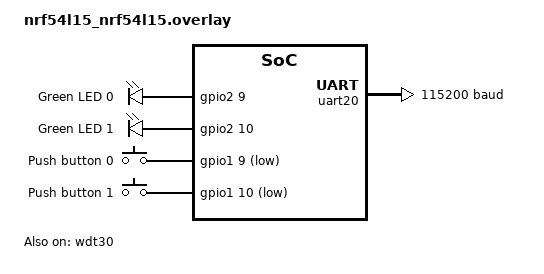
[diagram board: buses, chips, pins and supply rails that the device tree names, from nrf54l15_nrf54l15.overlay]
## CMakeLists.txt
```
# Copyright (c) 2024, Nestle Purina Pet Care. All rights reserved
# SPDX-License-Identifier: LicenseRef-Proprietary

cmake_minimum_required(VERSION 3.20.0)

set(DTC_OVERLAY_FILE ./nrf5340dk_nrf5340_cpuapp.overlay)

add_compile_options(-Werror)

get_filename_component(APPLICATION_PROJECT_DIR
    ${CMAKE_CURRENT_LIST_DIR}/..
    ABSOLUTE
)

list(APPEND CONF_FILE prj.conf)

if (EXISTS prj.local.conf)
  list(APPEND CONF_FILE prj.local.conf)
endif()
if (CONFIG_RELEASE_BUILD)
  message("Doing a RELEASE build")
  list(APPEND CONF_FILE prj.release.conf)
endif()
message("CONF_FILE=${CONF_FILE}")
# list(APPEND BOARD_ROOT ${APPLICATION_PROJECT_DIR})
# list(APPEND DTS_ROOT ${APPLICATION_PROJECT_DIR})
# message("ADDING BOARD_ROOT=${BOARD_ROOT}")
# message("ADDING DTS_ROOT=${DTS_ROOT}")

list(APPEND EXTRA_ZEPHYR_MODULES ${CMAKE_CURRENT_LIST_DIR}/../lib/drivers)
message("MODULES=${EXTRA_ZEPHYR_MODULES}")

find_package(Zephyr REQUIRED HINTS $ENV{ZEPHYR_BASE})


project(commercial_collar VERSION 1.21.0)

zephyr_library_include_directories(src/include)
target_sources(app PRIVATE src/main.c src/pm_shell.c src/shell.c src/nrf53_upgrade.c src/self_check.c src/d1_time.c)
target_sources_ifdef(CONFIG_RELEASE_BUILD app PRIVATE src/login.c)
add_subdirectory(../c_modules/fqueue ./build/c_modules/fqueue)
add_subdirectory(../c_modules/pmic ./build/c_modules/pmic)
add_subdirectory(../c_modules/modem ./build/c_modules/modem)
add_subdirectory(src/wifi)
add_subdirectory(../c_modules/watchdog ./build/c_modules/watchdog)
add_subdirectory(src/ble)
add_subdirectory(../c_modules/imu ./build/c_modules/imu)
add_subdirectory(../c_modules/json ./build/c_modules/json)
add_subdirectory(../c_modules/tde ./build/c_modules/tde)
add_subdirectory(../c_modules/uicr ./build/c_modules/uicr)
add_subdirectory(../c_modules/utils ./build/c_modules/utils)
add_subdirectory(src/storage)
add_subdirectory(src/ml)
add_subdirectory(src/comm_mgr)
add_subdirectory(src/zbus)


add_definitions(-DAPP_VERSION_MAJOR_CMAKE=${PROJECT_VERSION_MAJOR})
add_definitions(-DAPP_VERSION_MINOR_CMAKE=${PROJECT_VERSION_MINOR})
add_definitions(-DAPP_VERSION_PATCH_CMAKE=${PROJECT_VERSION_PATCH})

# Get the current Git commit hash
execute_process(
  COMMAND git rev-parse --short=6 HEAD
  WORKING_DIRECTORY ${CMAKE_SOURCE_DIR}
  OUTPUT_VARIABLE GIT_HASH
  OUTPUT_STRIP_TRAILING_WHITESPACE
)

# Check if the repository is dirty
execute_process(
  COMMAND git status --porcelain -uno
  WORKING_DIRECTORY ${CMAKE_SOURCE_DIR}
  OUTPUT_VARIABLE GIT_DIRTY_STATUS
  OUTPUT_STRIP_TRAILING_WHITESPACE
)

# Append '-dirty' to the version string if the repository is dirty
if(NOT GIT_DIRTY_STATUS STREQUAL "")
  set(GIT_HASH "${GIT_HASH}-dirty")
endif()

add_definitions(-DGIT_HASH_CMAKE=\"${GIT_HASH}\")

# Get the build machine name
execute_process(
  COMMAND hostname
  OUTPUT_VARIABLE BUILD_MACHINE
  OUTPUT_STRIP_TRAILING_WHITESPACE
)

# Get the build date
string(TIMESTAMP BUILD_DATE "%Y-%m-%d %H:%M:%S")

# Pass the variables to the code
add_definitions(-DBUILD_MACHINE_CMAKE=\"${BUILD_MACHINE}\")
add_definitions(-DBUILD_DATE_CMAKE=\"${BUILD_DATE}\")
```

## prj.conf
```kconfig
CONFIG_SENSOR=y
CONFIG_GPIO=y
CONFIG_LOG=y
CONFIG_LOG_MODE_IMMEDIATE=y

CONFIG_ZCBOR=y
CONFIG_ZCBOR_CANONICAL=y

CONFIG_ZBUS=y
CONFIG_ZBUS_RUNTIME_OBSERVERS=y

CONFIG_SERIAL=y
CONFIG_UART_INTERRUPT_DRIVEN=y
CONFIG_UART_ASYNC_API=y
CONFIG_UART_NRFX=y
CONFIG_PRINTK=y
CONFIG_MAIN_STACK_SIZE=32768
CONFIG_SHELL_STACK_SIZE=8192
CONFIG_SYSTEM_WORKQUEUE_STACK_SIZE=8192
CONFIG_POSIX_CLOCK=y

CONFIG_SETTINGS=y
CONFIG_SETTINGS_SHELL=y
CONFIG_SETTINGS_LOG_LEVEL_DBG=y
CONFIG_SETTINGS_RUNTIME=y
CONFIG_SETTINGS_FILE_PATH="/lfs1/settings/run"

CONFIG_PM_DEVICE=y
CONFIG_PM_DEVICE_RUNTIME=y

## SHELL
CONFIG_SHELL=y
CONFIG_LED_SHELL=y
CONFIG_FLASH_SHELL=y
CONFIG_GPIO_SHELL=y
CONFIG_SHELL_WILDCARD=n
CONFIG_SHELL_STACK_SIZE=8192
#CONFIG_LOG_BUFFER_SIZE=8192
#CONFIG_LOG_PROCESS_THREAD_STACK_SIZE=4096
#CONFIG_LOG_PROCESS_THREAD=y
CONFIG_SHELL_CMDS_RESIZE=y
CONFIG_SHELL_CMD_BUFF_SIZE=2048
CONFIG_SHELL_BACKEND_SERIAL_RX_RING_BUFFER_SIZE=2048

## NPM1300
CONFIG_FLASH_SHELL=y
CONFIG_GPIO_SHELL=y


## NPM1300
CONFIG_LED=y
CONFIG_REGULATOR=y
CONFIG_REGULATOR_NPM1300=y
CONFIG_REGULATOR=y
CONFIG_REGULATOR_NPM1300=y
CONFIG_LED_NPM1300=y
CONFIG_GPIO_NPM1300=y
CONFIG_NPM1300_CHARGER=y
CONFIG_NRF_FUEL_GAUGE=y
CONFIG_MFD_NPM1300=y

# Flash
CONFIG_FLASH=y
CONFIG_FLASH_PAGE_LAYOUT=y
CONFIG_FLASH_SHELL_TEST_COMMANDS=y
CONFIG_FLASH_MAP=y
CONFIG_FLASH_MAP_SHELL=y
CONFIG_FLASH_MAP_LABELS=y
CONFIG_NORDIC_QSPI_NOR=y
CONFIG_MPU_ALLOW_FLASH_WRITE=y

# Filesystem
CONFIG_FILE_SYSTEM=y
CONFIG_FILE_SYSTEM_LITTLEFS=y
CONFIG_FILE_SYSTEM_SHELL=y
CONFIG_FILE_SYSTEM_SHELL_TEST_COMMANDS=y
# use 3MB of external flash for file system (other 1MB is for DFU slot)
CONFIG_PM_PARTITION_SIZE_LITTLEFS=0x300000
CONFIG_PM_PARTITION_REGION_LITTLEFS_EXTERNAL=y

# CONFIG_SPI=n

CONFIG_NRFX_SPIM4=y

## watchdog
CONFIG_WDT_LOG_LEVEL_DBG=y
CONFIG_WATCHDOG=y
CONFIG_WDT_NPM1300=y
#CONFIG_WDT_NPM1300_TIMEOUT_IN_MS=60000
CONFIG_COUNTER=y

#CONFIG_USE_UART_TO_NRF9160=y

# IMU
CONFIG_LSM6DSV16X_D1=y
CONFIG_LSM6DSV16X_D1_TRIGGER_OWN_THREAD=y
CONFIG_LSM6DSV16X_D1_THREAD_STACK_SIZE=4096
CONFIG_LSM6DSV16X_D1_ENABLE_MOTION=y

CONFIG_CJSON_LIB=y

## Bringup and Mfg test
## might require hardware mods, do not use unless you know what you are doing
#CONFIG_ENABLE_RFFE_TO_QM13335TR13=y

CONFIG_WIFI_SPI_LOG_LEVEL_ERR=y

# BLE
CONFIG_BT=y
CONFIG_BT_SMP=y # required for .security_changed callback
CONFIG_BT_SIGNING=y
CONFIG_BT_PERIPHERAL=y
CONFIG_BT_BAS=y
CONFIG_BT_DEVICE_NAME_DYNAMIC=y
CONFIG_BT_RX_STACK_SIZE=4096
CONFIG_BT_BUF_ACL_RX_SIZE=251
CONFIG_BT_ATT_PREPARE_COUNT=2
CONFIG_BT_CONN_TX_MAX=10
CONFIG_BT_L2CAP_TX_BUF_COUNT=10
CONFIG_BT_L2CAP_TX_MTU=247
CONFIG_BT_BUF_ACL_RX_SIZE=251
CONFIG_BT_L2CAP_DYNAMIC_CHANNEL=y
CONFIG_BT_KEYS_OVERWRITE_OLDEST=y
CONFIG_BT_SETTINGS=y
CONFIG_BT_SHELL=y
CONFIG_BT_MAX_PAIRED=10
# 4s supervisory timeout, max recommended if iOS
CONFIG_BT_PERIPHERAL_PREF_TIMEOUT=400

# tweak some BT configs
CONFIG_BT_ATT_ENFORCE_FLOW=n
CONFIG_BT_ATT_PREPARE_COUNT=10
CONFIG_BT_GATT_AUTO_SEC_REQ=n
CONFIG_BT_GATT_CACHING=n
CONFIG_BT_GATT_ENFORCE_SUBSCRIPTION=n

# MCUBoot
CONFIG_BOOTLOADER_MCUBOOT=y
CONFIG_MCUBOOT_GENERATE_UNSIGNED_IMAGE=y
CONFIG_MCUBOOT_GENERATE_CONFIRMED_IMAGE=y

# NOTE: we put DFU secondary slot in QSPI flash to save code space for app
CONFIG_PM_EXTERNAL_FLASH_MCUBOOT_SECONDARY=y
CONFIG_ADD_MCUBOOT_MEDIATE_SIM_FLASH_DTS=n

# DFU - this enables all required SMP handlers and SMP BT reassembly feature
CONFIG_NCS_SAMPLE_MCUMGR_BT_OTA_DFU=y
# LFS access - this allows us to download files from the device manager app
CONFIG_MCUMGR_GRP_FS=y
CONFIG_MCUMGR_GRP_FS_MAX_FILE_SIZE_4GB=y

# Network core upgrades
CONFIG_NRF53_UPGRADE_NETWORK_CORE=y
CONFIG_DFU_MULTI_IMAGE_PACKAGE_BUILD=y
CONFIG_DFU_MULTI_IMAGE_PACKAGE_NET=y

# enable c++ support for ML library
CONFIG_CPLUSPLUS=y
CONFIG_LIB_CPLUSPLUS=y

#FIXME: enabling this breaks '#include <cJSON.h>', need to figure this out
#CONFIG_NEWLIB_LIBC=y
CONFIG_FPU=y

# used to generate Nonce
CONFIG_ENTROPY_GENERATOR=y
CONFIG_ENTROPY_DEVICE_RANDOM_GENERATOR=y

CONFIG_BT_HCI_CORE_LOG_LEVEL_ERR=y
CONFIG_FS_LOG_LEVEL_OFF=y


CONFIG_BASE64=y
CONFIG_ENTROPY_DEVICE_RANDOM_GENERATOR=y
CONFIG_LOG_TIMESTAMP_64BIT=y
CONFIG_MCUMGR_TRANSPORT_WORKQUEUE_STACK_SIZE=5120

# this seems like a ridiculously large value, got me past the CJson issue, need to reduce to something reasonable
CONFIG_HEAP_MEM_POOL_SIZE=49152

CONFIG_MQTT_KEEPALIVE=600

CONFIG_ENABLE_FOTA_ON_USB_CONNECTION=1

###############       DEBUG STUFF - TURN OFF FOR PRODUCTION/DEMO       #####################
# Changes to the CONFIG values that are local and not checked in can now be stored in prj.local.conf
# This file will not be checked in but will be merged into the main prj.conf at make ime
```

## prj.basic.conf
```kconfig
# Basic configuration for testing compilation
CONFIG_SENSOR=y
CONFIG_GPIO=y
CONFIG_LOG=y
CONFIG_LOG_MODE_IMMEDIATE=y

CONFIG_ZCBOR=y
CONFIG_ZCBOR_CANONICAL=y

CONFIG_ZBUS=y
CONFIG_ZBUS_RUNTIME_OBSERVERS=y

CONFIG_SERIAL=y
CONFIG_UART_INTERRUPT_DRIVEN=y
CONFIG_UART_ASYNC_API=y
CONFIG_UART_NRFX=y
CONFIG_PRINTK=y

CONFIG_MAIN_STACK_SIZE=32768
CONFIG_SHELL_STACK_SIZE=8192
CONFIG_SYSTEM_WORKQUEUE_STACK_SIZE=8192

CONFIG_SETTINGS=y
CONFIG_SETTINGS_SHELL=y
CONFIG_SETTINGS_RUNTIME=y

CONFIG_PM_DEVICE=y
CONFIG_PM_DEVICE_RUNTIME=y

## SHELL
CONFIG_SHELL=y
CONFIG_LED_SHELL=y
CONFIG_FLASH_SHELL=y
CONFIG_GPIO_SHELL=y
CONFIG_SHELL_WILDCARD=n
CONFIG_SHELL_STACK_SIZE=8192
CONFIG_SHELL_CMDS_RESIZE=y
CONFIG_SHELL_CMD_BUFF_SIZE=2048
CONFIG_SHELL_BACKEND_SERIAL_RX_RING_BUFFER_SIZE=2048

## NPM1300
CONFIG_LED=y
CONFIG_REGULATOR=y
CONFIG_REGULATOR_NPM1300=y
CONFIG_LED_NPM1300=y
CONFIG_GPIO_NPM1300=y
CONFIG_NPM1300_CHARGER=y
CONFIG_NRF_FUEL_GAUGE=y
CONFIG_MFD_NPM1300=y

# Flash
CONFIG_FLASH=y
CONFIG_FLASH_PAGE_LAYOUT=y
CONFIG_FLASH_SHELL_TEST_COMMANDS=y
CONFIG_FLASH_MAP=y
CONFIG_FLASH_MAP_SHELL=y
CONFIG_FLASH_MAP_LABELS=y
CONFIG_NORDIC_QSPI_NOR=y
CONFIG_MPU_ALLOW_FLASH_WRITE=y

# Filesystem
CONFIG_FILE_SYSTEM=y
CONFIG_FILE_SYSTEM_LITTLEFS=y
CONFIG_FILE_SYSTEM_SHELL=y
CONFIG_FILE_SYSTEM_SHELL_TEST_COMMANDS=y

CONFIG_NRFX_SPIM4=y

## watchdog
CONFIG_WDT_LOG_LEVEL_DBG=y
CONFIG_WATCHDOG=y
CONFIG_WDT_NPM1300=y
CONFIG_COUNTER=y

# IMU - use custom driver
CONFIG_LSM6DSV16X_D1=y
CONFIG_LSM6DSV16X_D1_TRIGGER_OWN_THREAD=y
CONFIG_LSM6DSV16X_D1_THREAD_STACK_SIZE=4096
CONFIG_LSM6DSV16X_D1_ENABLE_MOTION=y

CONFIG_CJSON_LIB=y

# BLE
CONFIG_BT=y
CONFIG_BT_SMP=y
CONFIG_BT_SIGNING=y
CONFIG_BT_PERIPHERAL=y
CONFIG_BT_BAS=y
CONFIG_BT_DEVICE_NAME_DYNAMIC=y
CONFIG_BT_RX_STACK_SIZE=4096
CONFIG_BT_BUF_ACL_RX_SIZE=251
CONFIG_BT_ATT_PREPARE_COUNT=2
CONFIG_BT_CONN_TX_MAX=10
CONFIG_BT_L2CAP_TX_BUF_COUNT=10
CONFIG_BT_L2CAP_TX_MTU=247
CONFIG_BT_BUF_ACL_RX_SIZE=251
CONFIG_BT_L2CAP_DYNAMIC_CHANNEL=y
CONFIG_BT_KEYS_OVERWRITE_OLDEST=y
CONFIG_BT_SETTINGS=y
CONFIG_BT_SHELL=y
CONFIG_BT_MAX_PAIRED=10
CONFIG_BT_PERIPHERAL_PREF_TIMEOUT=400

# tweak some BT configs
CONFIG_BT_ATT_PREPARE_COUNT=10
CONFIG_BT_GATT_AUTO_SEC_REQ=n
CONFIG_BT_GATT_CACHING=n
CONFIG_BT_GATT_ENFORCE_SUBSCRIPTION=n

# enable c++ support for ML library
# CONFIG_CPLUSPLUS=y
# CONFIG_LIB_CPLUSPLUS=y
CONFIG_FPU=y

# used to generate Nonce
CONFIG_ENTROPY_GENERATOR=y
CONFIG_ENTROPY_DEVICE_RANDOM_GENERATOR=y

CONFIG_BASE64=y
CONFIG_LOG_TIMESTAMP_64BIT=y

# this seems like a ridiculously large value, got me past the CJson issue, need to reduce to something reasonable
CONFIG_HEAP_MEM_POOL_SIZE=49152

# Add missing CONFIG for flash img
CONFIG_STREAM_FLASH=y
CONFIG_IMG_MANAGER=y
CONFIG_IMG_BLOCK_BUF_SIZE=512
```

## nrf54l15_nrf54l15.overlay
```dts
/*
 * Copyright (c) 2024 Nordic Semiconductor ASA
 * SPDX-License-Identifier: Apache-2.0
 */

&uart20 {
    status = "okay";
    current-speed = <115200>;
    pinctrl-0 = <&uart20_default>;
    pinctrl-1 = <&uart20_sleep>;
    pinctrl-names = "default", "sleep";
};

&i2c21 {
    status = "disabled";
};

&gpio0 {
    status = "okay";
};

&gpio1 {
    status = "okay";
};

&gpio2 {
    status = "okay";
};

/ {
    aliases {
        led0 = &led0;
        led1 = &led1;
        sw0 = &button0;
        sw1 = &button1;
        watchdog0 = &wdt30;
    };

    leds {
        compatible = "gpio-leds";
        led0: led_0 {
            gpios = <&gpio2 9 GPIO_ACTIVE_HIGH>;
            label = "Green LED 0";
        };
        led1: led_1 {
            gpios = <&gpio2 10 GPIO_ACTIVE_HIGH>;
            label = "Green LED 1";
        };
    };

    buttons {
        compatible = "gpio-keys";
        button0: button_0 {
            gpios = <&gpio1 9 (GPIO_PULL_UP | GPIO_ACTIVE_LOW)>;
            label = "Push button 0";
            zephyr,code = <INPUT_KEY_0>;
        };
        button1: button_1 {
            gpios = <&gpio1 10 (GPIO_PULL_UP | GPIO_ACTIVE_LOW)>;
            label = "Push button 1";
            zephyr,code = <INPUT_KEY_1>;
        };
    };
};

&flash0 {
    partitions {
        compatible = "fixed-partitions";
        #address-cells = <1>;
        #size-cells = <1>;

        boot_partition: partition@0 {
            label = "mcuboot";
            reg = <0x0 0x10000>;
        };

        slot0_partition: partition@10000 {
            label = "image-0";
            reg = <0x10000 0x40000>;
        };

        slot1_partition: partition@50000 {
            label = "image-1";
            reg = <0x50000 0x40000>;
        };

        storage_partition: partition@90000 {
            label = "storage";
            reg = <0x90000 0x6000>;
        };
    };
};

&wdt30 {
    status = "okay";
};
```

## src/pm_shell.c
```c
/* Copyright (c) 2024, Nestle Purina Pet Care. All rights reserved */
/*
 * Copyright 2024 Google LLC
 *
 * SPDX-License-Identifier: Apache-2.0
 */

#include <stdio.h>
#include <zephyr/shell/shell.h>
#include <zephyr/pm/device.h>
#include <zephyr/pm/device_runtime.h>

static void
device_name_get(size_t idx, struct shell_static_entry *entry)
{
    const struct device *dev = shell_device_lookup(idx, NULL);

    entry->syntax  = (dev != NULL) ? dev->name : NULL;
    entry->handler = NULL;
    entry->help    = NULL;
    entry->subcmd  = NULL;
}

SHELL_DYNAMIC_CMD_CREATE(dsub_device_name, device_name_get);

static int
pm_cmd_suspend(const struct shell *sh, size_t argc, char *argv[])
{
    const struct device *dev;
    int                  ret;

    dev = device_get_binding(argv[1]);
    if (dev == NULL) {
        shell_error(sh, "Invalid device: %s", argv[1]);
        return -ENODEV;
    }

    if (pm_device_runtime_is_enabled(dev)) {
        shell_error(sh, "Device %s uses runtime PM, use the runtime functions instead", dev->name);
        return -EINVAL;
    }

    ret = pm_device_action_run(dev, PM_DEVICE_ACTION_SUSPEND);
    if (ret < 0) {
        shell_error(sh, "Device %s error: %d", "suspend", ret);
        return ret;
    }

    return 0;
}

static int
pm_cmd_resume(const struct shell *sh, size_t argc, char *argv[])
{
    const struct device *dev;
    int                  ret;

    dev = device_get_binding(argv[1]);
    if (dev == NULL) {
        shell_error(sh, "Invalid device: %s", argv[1]);
        return -ENODEV;
    }

    if (pm_device_runtime_is_enabled(dev)) {
        shell_error(sh, "Device %s uses runtime PM, use the runtime functions instead", dev->name);
        return -EINVAL;
    }

    ret = pm_device_action_run(dev, PM_DEVICE_ACTION_RESUME);
    if (ret < 0) {
        shell_error(sh, "Device %s error: %d", "resume", ret);
        return ret;
    }

    return 0;
}

#if defined(CONFIG_PM_DEVICE_RUNTIME)
static int
pm_cmd_runtime_get(const struct shell *sh, size_t argc, char *argv[])
{
    const struct device *dev;
    int                  ret;

    dev = device_get_binding(argv[1]);
    if (dev == NULL) {
        shell_error(sh, "Invalid device: %s", argv[1]);
        return -ENODEV;
    }

    if (!pm_device_runtime_is_enabled(dev)) {
        shell_error(sh, "Device %s is not using runtime PM", dev->name);
        return -EINVAL;
    }

    ret = pm_device_runtime_get(dev);
    if (ret < 0) {
        shell_error(sh, "Device %s error: %d", "runtime get", ret);
        return ret;
    }

    return 0;
}

static int
pm_cmd_runtime_put(const struct shell *sh, size_t argc, char *argv[])
{
    const struct device *dev;
    int                  ret;

    dev = device_get_binding(argv[1]);
    if (dev == NULL) {
        shell_error(sh, "Invalid device: %s", argv[1]);
        return -ENODEV;
    }

    if (!pm_device_runtime_is_enabled(dev)) {
        shell_error(sh, "Device %s is not using runtime PM", dev->name);
        return -EINVAL;
    }

    ret = pm_device_runtime_put(dev);
    if (ret < 0) {
        shell_error(sh, "Device %s error: %d", "runtime put", ret);
        return ret;
    }

    return 0;
}

static int
pm_cmd_runtime_put_async(const struct shell *sh, size_t argc, char *argv[])
{
    const struct device *dev;
    int                  ret;

    dev = device_get_binding(argv[1]);
    if (dev == NULL) {
        shell_error(sh, "Invalid device: %s", argv[1]);
        return -ENODEV;
    }

    if (!pm_device_runtime_is_enabled(dev)) {
        shell_error(sh, "Device %s is not using runtime PM", dev->name);
        return -EINVAL;
    }

    ret = pm_device_runtime_put_async(dev, K_NO_WAIT);
    if (ret < 0) {
        shell_error(sh, "Device %s error: %d", "runtime put async", ret);
        return ret;
    }

    return 0;
}
#endif /* CONFIG_PM_DEVICE_RUNTIME */

SHELL_STATIC_SUBCMD_SET_CREATE(
    sub_pm_cmds,
    SHELL_CMD_ARG(suspend, &dsub_device_name, "Call the PM suspend action on a device", pm_cmd_suspend, 2, 0),
    SHELL_CMD_ARG(resume, &dsub_device_name, "Call the PM resume action on a device", pm_cmd_resume, 2, 0),
#if defined(CONFIG_PM_DEVICE_RUNTIME)
    SHELL_CMD_ARG(runtime - get, &dsub_device_name, "Call the PM runtime get on a device", pm_cmd_runtime_get, 2, 0),
    SHELL_CMD_ARG(runtime - put, &dsub_device_name, "Call the PM runtime put on a device", pm_cmd_runtime_put, 2, 0),
    SHELL_CMD_ARG(
        runtime - put - async, &dsub_device_name, "Call the PM runtime put async on a device", pm_cmd_runtime_put_async, 2, 0),
#endif /* CONFIG_PM_DEVICE_RUNTIME */
    SHELL_SUBCMD_SET_END);

SHELL_CMD_REGISTER(pm, &sub_pm_cmds, "PM commands", NULL);
```
